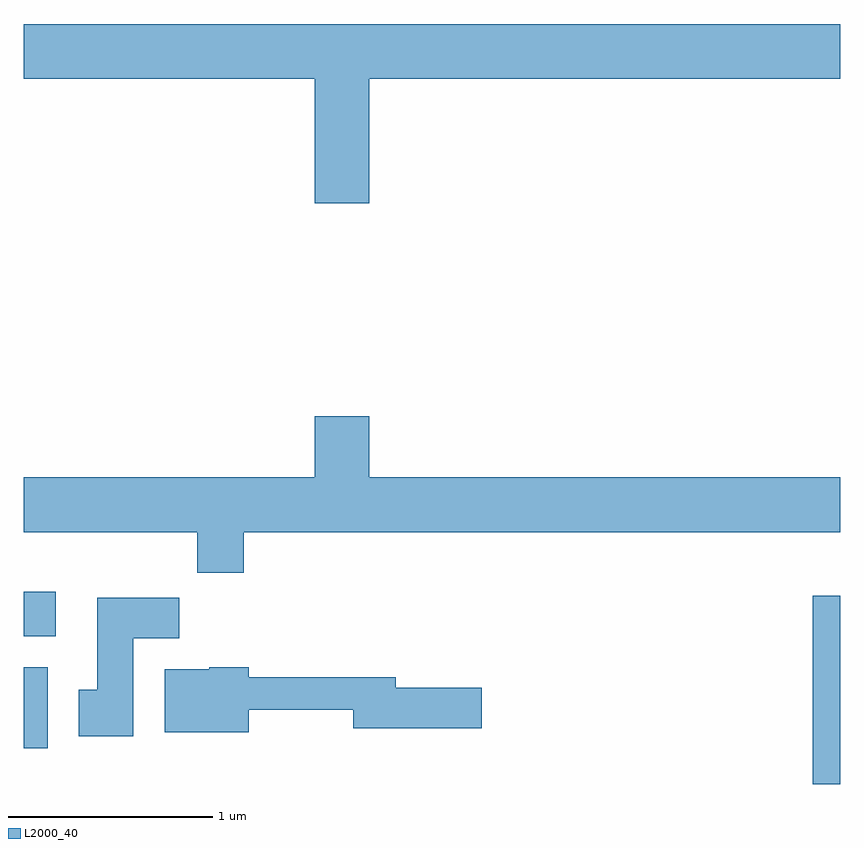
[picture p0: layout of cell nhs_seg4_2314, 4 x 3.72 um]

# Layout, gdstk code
import gdstk
lib = gdstk.Library(unit=1e-6, precision=1e-09)
def R(c, l, rs):  # rectangles x0, y0, x1, y1
    for r in rs: c.add(gdstk.rectangle(r[:2], r[2:], *l))
def P(c, l, *ps):  # polygons
    for p in ps: c.add(gdstk.Polygon(p, *l))
L2000_40 = (2000, 40)

nhs_seg4_2314 = lib.new_cell('nhs_seg4_2314')
R(nhs_seg4_2314, L2000_40, [(257.476,1257.982,257.611,1258.904), (253.611,1258.156,253.729,1258.554), (253.611,1258.706,253.769,1258.924)])
P(nhs_seg4_2314, L2000_40, [(255.304,1261.436),(257.611,1261.436),(257.611,1261.704),(253.611,1261.704),(253.611,1261.436),(255.036,1261.436),(255.036,1260.826),(255.304,1260.826)],
  [(254.689,1259.216),(257.611,1259.216),(257.611,1259.484),(255.304,1259.484),(255.304,1259.784),(255.036,1259.784),(255.036,1259.484),(253.611,1259.484),(253.611,1259.216),(254.461,1259.216),(254.461,1259.016),(254.689,1259.016)],
  [(254.149,1258.696),(254.374,1258.696),(254.374,1258.894),(253.971,1258.894),(253.971,1258.444),(253.881,1258.444),(253.881,1258.216),(254.149,1258.216)],
  [(254.714,1258.346),(255.226,1258.346),(255.226,1258.256),(255.854,1258.256),(255.854,1258.454),(255.434,1258.454),(255.434,1258.504),(254.714,1258.504),(254.714,1258.554),(254.52,1258.554),(254.52,1258.544),(254.301,1258.544),(254.301,1258.236),(254.714,1258.236)])

lib.write_gds('nhs_seg4_2314.gds')
